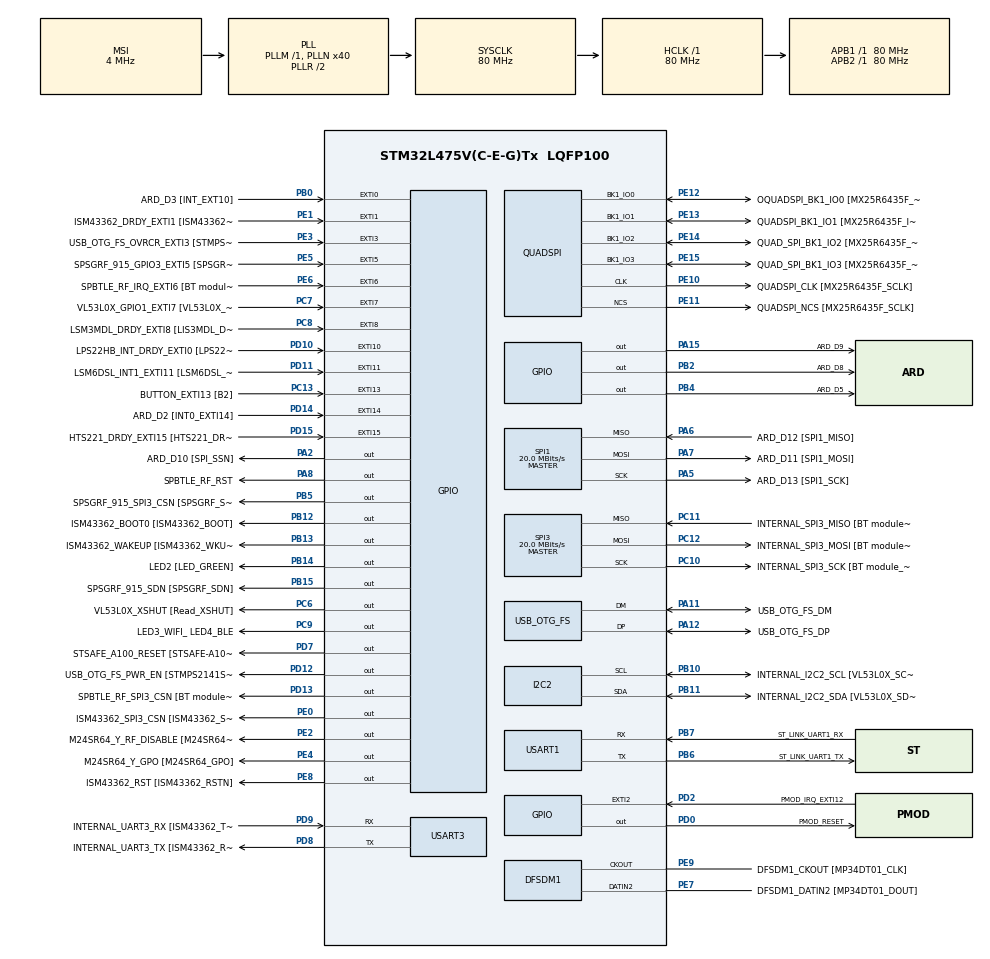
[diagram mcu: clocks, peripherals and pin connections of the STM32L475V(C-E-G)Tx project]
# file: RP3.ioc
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FREERTOS.Tasks01=defaultTask,24,256,StartDefaultTask,Default,NULL,Dynamic,NULL,NULL
FREERTOS.configTOTAL_HEAP_SIZE=32768
FREERTOS.configUSE_NEWLIB_REENTRANT=1
I2C2.Timing=0x10D19CE4
Mcu.Family=STM32L4
Mcu.Name=STM32L475V(C-E-G)Tx
Mcu.Package=LQFP100
NVIC.EXTI15_10_IRQn=true\:5\:0\:false\:false\:true\:true\:true\:true\:true
NVIC.EXTI9_5_IRQn=true\:5\:0\:false\:false\:true\:true\:true\:true\:true
NVIC.PriorityGroup=NVIC_PRIORITYGROUP_4
NVIC.TIM6_DAC_IRQn=true\:15\:0\:false\:false\:true\:false\:false\:true\:true
NVIC.TimeBase=TIM6_DAC_IRQn
NVIC.TimeBaseIP=TIM6
PA0.GPIO_Label=ARD_D1 [UART4_TX]
PA0.Signal=UART4_TX
PA1.GPIO_Label=ARD_D0 [UART4_RX]
PA1.Signal=UART4_RX
PA10.GPIO_Label=USB_OTG_FS_ID
PA10.Signal=USB_OTG_FS_ID
PA11.GPIO_Label=USB_OTG_FS_DM
PA11.Mode=Device_Only
PA11.Signal=USB_OTG_FS_DM
PA12.GPIO_Label=USB_OTG_FS_DP
PA12.Mode=Device_Only
PA12.Signal=USB_OTG_FS_DP
PA13\ (JTMS-SWDIO).GPIO_Label=SYS_JTMS_SWDIO
PA13\ (JTMS-SWDIO).Mode=Serial_Wire
PA13\ (JTMS-SWDIO).Signal=SYS_JTMS-SWDIO
PA14\ (JTCK-SWCLK).GPIO_Label=SYS_JTCK_SWCLK
PA14\ (JTCK-SWCLK).Mode=Serial_Wire
PA14\ (JTCK-SWCLK).Signal=SYS_JTCK-SWCLK
PA15\ (JTDI).GPIO_Label=ARD_D9
PA15\ (JTDI).Signal=GPIO_Output
PA2.GPIO_Label=ARD_D10 [SPI_SSN]
PA2.Signal=GPIO_Output
PA3.GPIO_Label=ARD_D4
PA3.Signal=S_TIM2_CH4
PA4.GPIO_Label=ARD_D7
PA4.Signal=ADCx_IN9
PA5.GPIO_Label=ARD_D13 [SPI1_SCK]
PA5.Mode=Full_Duplex_Master
PA5.Signal=SPI1_SCK
PA6.GPIO_Label=ARD_D12 [SPI1_MISO]
PA6.Mode=Full_Duplex_Master
PA6.Signal=SPI1_MISO
PA7.GPIO_Label=ARD_D11 [SPI1_MOSI]
PA7.Mode=Full_Duplex_Master
PA7.Signal=SPI1_MOSI
PA8.GPIO_Label=SPBTLE_RF_RST
PA8.Signal=GPIO_Output
PA9.GPIO_Label=USB_OTG_FS_VBUS [STMPS2141STR_OUT]
PA9.Signal=USB_OTG_FS_VBUS
PB0.GPIO_Label=ARD_D3 [INT_EXT10]
PB0.Signal=GPXTI0
PB1.GPIO_Label=ARD_D6 [ADC1_IN6]
PB1.Signal=ADCx_IN16
PB10.GPIO_Label=INTERNAL_I2C2_SCL [VL53L0X_SCL]
PB10.GPIO_Pu=GPIO_PULLUP
PB10.Mode=I2C
PB10.Signal=I2C2_SCL
PB11.GPIO_Label=INTERNAL_I2C2_SDA [VL53L0X_SDA]
PB11.GPIO_Pu=GPIO_PULLUP
PB11.Mode=I2C
PB11.Signal=I2C2_SDA
PB12.GPIO_Label=ISM43362_BOOT0 [ISM43362_BOOT]
PB12.Signal=GPIO_Output
PB13.GPIO_Label=ISM43362_WAKEUP [ISM43362_WKUP]
PB13.Signal=GPIO_Output
PB14.GPIO_Label=LED2 [LED_GREEN]
PB14.Signal=GPIO_Output
PB15.GPIO_Label=SPSGRF_915_SDN [SPSGRF_SDN]
PB15.Signal=GPIO_Output
PB2.GPIO_Label=ARD_D8
PB2.Signal=GPIO_Output
PB3\ (JTDO-TRACESWO).GPIO_Label=SYS_JTD0_SWO
PB3\ (JTDO-TRACESWO).Signal=SYS_JTDO-SWO
PB4\ (NJTRST).GPIO_Label=ARD_D5
PB4\ (NJTRST).Signal=GPIO_Output
PB5.GPIO_Label=SPSGRF_915_SPI3_CSN [SPSGRF_SPI_CS]
PB5.PinState=GPIO_PIN_SET
PB5.Signal=GPIO_Output
PB6.GPIO_Label=ST_LINK_UART1_TX
PB6.Mode=Asynchronous
PB6.Signal=USART1_TX
PB7.GPIO_Label=ST_LINK_UART1_RX
PB7.Mode=Asynchronous
PB7.Signal=USART1_RX
PB8.GPIO_Label=ARD_D15 [I2C1_SCL]
PB8.Signal=I2C1_SCL
PB9.GPIO_Label=ARD_D14 [I2C1_SDA]
PB9.Signal=I2C1_SDA
PC0.GPIO_Label=ARD_A5 [ADC]
PC0.Signal=ADCx_IN1
PC1.GPIO_Label=ARD_A4 [ADC]
PC1.Signal=ADCx_IN2
PC10.GPIO_Label=INTERNAL_SPI3_SCK [BT module_SPI_SCLK] [ISM43362_SCK]
PC10.Mode=Full_Duplex_Master
PC10.Signal=SPI3_SCK
PC11.GPIO_Label=INTERNAL_SPI3_MISO [BT module_SPI_MISO] [ISM43362_MISO]
PC11.Mode=Full_Duplex_Master
PC11.Signal=SPI3_MISO
PC12.GPIO_Label=INTERNAL_SPI3_MOSI [BT module_SPI_MOSI] [ISM43362_MOSI]
PC12.Mode=Full_Duplex_Master
PC12.Signal=SPI3_MOSI
PC13.GPIO_Label=BUTTON_EXTI13 [B2]
PC13.GPIO_ModeDefaultEXTI=GPIO_MODE_IT_FALLING
PC13.Signal=GPXTI13
PC14-OSC32_IN\ (PC14).Mode=LSE-External-Oscillator
PC14-OSC32_IN\ (PC14).Signal=RCC_OSC32_IN
PC15-OSC32_OUT\ (PC15).Mode=LSE-External-Oscillator
PC15-OSC32_OUT\ (PC15).Signal=RCC_OSC32_OUT
PC2.GPIO_Label=ARD_A3 [ADC]
PC2.Signal=ADCx_IN3
PC3.GPIO_Label=ARD_A2 [ADC]
PC3.Signal=ADCx_IN4
PC4.GPIO_Label=ARD_A1 [ADC]
PC4.Signal=ADCx_IN13
PC5.GPIO_Label=ARD_A0 [ADC]
PC5.Signal=ADCx_IN14
PC6.GPIO_Label=VL53L0X_XSHUT [Read_XSHUT]
PC6.Signal=GPIO_Output
PC7.GPIO_Label=VL53L0X_GPIO1_EXTI7 [VL53L0X_GPIO1]
PC7.Signal=GPXTI7
PC8.GPIO_Label=LSM3MDL_DRDY_EXTI8 [LIS3MDL_DRDY]
PC8.Signal=GPXTI8
PC9.GPIO_Label=LED3_WIFI_ LED4_BLE
PC9.Signal=GPIO_Output
PD0.GPIO_Label=PMOD_RESET
PD0.Signal=GPIO_Output
PD1.GPIO_Label=PMOD_SPI2_SCK
PD1.Signal=SPI2_SCK
PD10.GPIO_Label=LPS22HB_INT_DRDY_EXTI0 [LPS22HB_INT_DRDY] 
PD10.Signal=GPXTI10
PD11.GPIO_Label=LSM6DSL_INT1_EXTI11 [LSM6DSL_INT1]
PD11.Signal=GPXTI11
PD12.GPIO_Label=USB_OTG_FS_PWR_EN [STMPS2141STR_EN]
PD12.Signal=GPIO_Output
PD13.GPIO_Label=SPBTLE_RF_SPI3_CSN [BT module_SPI_CS]
PD13.PinState=GPIO_PIN_SET
PD13.Signal=GPIO_Output
PD14.GPIO_Label=ARD_D2 [INT0_EXTI14]
PD14.Signal=GPXTI14
PD15.GPIO_Label=HTS221_DRDY_EXTI15 [HTS221_DRDY]
PD15.Signal=GPXTI15
PD2.GPIO_Label=PMOD_IRQ_EXTI12
PD2.Signal=GPXTI2
PD3.GPIO_Label=PMOD_UART2_CTS
PD3.Signal=USART2_CTS
PD4.GPIO_Label=PMOD_UART2_RTS
PD4.Signal=USART2_RTS
PD5.GPIO_Label=PMOD_UART2_TX
PD5.Signal=USART2_TX
PD6.GPIO_Label=PMOD_UART2_RX
PD6.Signal=USART2_RX
PD7.GPIO_Label=STSAFE_A100_RESET [STSAFE-A100_RESET]
PD7.Signal=GPIO_Output
PD8.GPIO_Label=INTERNAL_UART3_TX [ISM43362_RX]
PD8.Mode=Asynchronous
PD8.Signal=USART3_TX
PD9.GPIO_Label=INTERNAL_UART3_RX [ISM43362_TX]
PD9.Mode=Asynchronous
PD9.Signal=USART3_RX
PE0.GPIO_Label=ISM43362_SPI3_CSN [ISM43362_SSN]
PE0.PinState=GPIO_PIN_SET
PE0.Signal=GPIO_Output
PE1.GPIO_Label=ISM43362_DRDY_EXTI1 [ISM43362_DATARDY]
PE1.Signal=GPXTI1
PE10.GPIO_Label=QUADSPI_CLK [MX25R6435F_SCLK]
PE10.Mode=Single Bank
PE10.Signal=QUADSPI_CLK
PE11.GPIO_Label=QUADSPI_NCS [MX25R6435F_SCLK]
PE11.Mode=Single Bank
PE11.Signal=QUADSPI_NCS
PE12.GPIO_Label=OQUADSPI_BK1_IO0 [MX25R6435F_IO0]
PE12.Mode=Single Bank
PE12.Signal=QUADSPI_BK1_IO0
PE13.GPIO_Label=QUADSPI_BK1_IO1 [MX25R6435F_IO1]
PE13.Mode=Single Bank
PE13.Signal=QUADSPI_BK1_IO1
PE14.GPIO_Label=QUAD_SPI_BK1_IO2 [MX25R6435F_IO2]
PE14.Mode=Single Bank
PE14.Signal=QUADSPI_BK1_IO2
PE15.GPIO_Label=QUAD_SPI_BK1_IO3 [MX25R6435F_IO3]
PE15.Mode=Single Bank
PE15.Signal=QUADSPI_BK1_IO3
PE2.GPIO_Label=M24SR64_Y_RF_DISABLE [M24SR64_RFDIS]
PE2.Signal=GPIO_Output
PE3.GPIO_Label=USB_OTG_FS_OVRCR_EXTI3 [STMPS2141STR_FAULT]
PE3.Signal=GPXTI3
PE4.GPIO_Label=M24SR64_Y_GPO [M24SR64_GPO]
PE4.Signal=GPIO_Output
PE5.GPIO_Label=SPSGRF_915_GPIO3_EXTI5 [SPSGRF_GPIO_3]
PE5.Signal=GPXTI5
PE6.GPIO_Label=SPBTLE_RF_IRQ_EXTI6 [BT module_SPI_IRQ]
PE6.Signal=GPXTI6
PE7.GPIO_Label=DFSDM1_DATIN2 [MP34DT01_DOUT]
PE7.Signal=S_DATAIN2DFSDM1
PE8.GPIO_Label=ISM43362_RST [ISM43362_RSTN]
PE8.Signal=GPIO_Output
PE9.GPIO_Label=DFSDM1_CKOUT [MP34DT01_CLK]
PE9.Signal=S_CKOUTDFSDM1
ProjectManager.HeapSize=0x200
ProjectManager.StackSize=0x400
ProjectManager.TargetToolchain=STM32CubeIDE
QUADSPI.ClockPrescaler=2
QUADSPI.FifoThreshold=4
QUADSPI.FlashSize=23
QUADSPI.SampleShifting=QSPI_SAMPLE_SHIFTING_HALFCYCLE
RCC.ADCFreq_Value=48000000
RCC.AHBFreq_Value=80000000
RCC.APB1Freq_Value=80000000
RCC.APB1TimFreq_Value=80000000
RCC.APB2Freq_Value=80000000
RCC.APB2TimFreq_Value=80000000
RCC.CortexFreq_Value=80000000
RCC.HCLKFreq_Value=80000000
RCC.HSE_VALUE=8000000
RCC.HSI_VALUE=16000000
RCC.MSI_VALUE=4000000
RCC.PLLN=40
RCC.PLLSAI1N=24
RCC.SYSCLKFreq_VALUE=80000000
RCC.SYSCLKSource=RCC_SYSCLKSOURCE_PLLCLK
RCC.USBFreq_Value=48000000
RCC.VCOOutputFreq_Value=160000000
SH.ADCx_IN1.0=ADC1_IN1
SH.ADCx_IN13.0=ADC1_IN13
SH.ADCx_IN14.0=ADC1_IN14
SH.ADCx_IN16.0=ADC1_IN16
SH.ADCx_IN2.0=ADC1_IN2
SH.ADCx_IN3.0=ADC1_IN3
SH.ADCx_IN4.0=ADC1_IN4
SH.ADCx_IN9.0=ADC1_IN9
SH.S_CKOUTDFSDM1.0=DFSDM1_CKOUT,CKOUT
SH.S_CKOUTDFSDM1.1=DFSDM1_CKOUT,PDM_SPI_Input_from_ch12_and_Internal_Clock
SH.S_DATAIN2DFSDM1.0=DFSDM1_DATIN2,PDM_SPI_Input_from_ch12_and_Internal_Clock
SH.S_TIM2_CH4.0=TIM2_CH4
SPI1.BaudRatePrescaler=SPI_BAUDRATEPRESCALER_4
SPI1.CalculateBaudRate=20.0 MBits/s
SPI1.DataSize=SPI_DATASIZE_16BIT
SPI1.Direction=SPI_DIRECTION_2LINES
SPI1.Mode=SPI_MODE_MASTER
SPI1.VirtualType=VM_MASTER
SPI3.BaudRatePrescaler=SPI_BAUDRATEPRESCALER_4
SPI3.CalculateBaudRate=20.0 MBits/s
SPI3.DataSize=SPI_DATASIZE_16BIT
SPI3.Direction=SPI_DIRECTION_2LINES
SPI3.Mode=SPI_MODE_MASTER
SPI3.VirtualType=VM_MASTER
USART1.VirtualMode-Asynchronous=VM_ASYNC
USART3.VirtualMode-Asynchronous=VM_ASYNC
USB_OTG_FS.VirtualMode=Device_Only
VP_FREERTOS_VS_CMSIS_V2.Mode=CMSIS_V2
VP_SYS_VS_tim6.Mode=TIM6
board=B-L475E-IOT01A1

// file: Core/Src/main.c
/* USER CODE BEGIN Header */
/**
  ******************************************************************************
  * @file           : main.c
  * @brief          : Main program body
  ******************************************************************************
  * @attention
  *
  * Copyright (c) 2025 STMicroelectronics.
  * All rights reserved.
  *
  * This software is licensed under terms that can be found in the LICENSE file
  * in the root directory of this software component.
  * If no LICENSE file comes with this software, it is provided AS-IS.
  *
  ******************************************************************************
  */
/* USER CODE END Header */
#include "main.h"
#include "cmsis_os.h"

/* USER CODE BEGIN Includes */
#include "string.h"
#include "wifi_wrapper.h"
#include <stdio.h>

/* USER CODE END Includes */

/* USER CODE BEGIN PTD */
typedef struct {
    uint8_t data[256];
    uint16_t length;
} WiFiMessage_t;

/* USER CODE END PTD */

DFSDM_Channel_HandleTypeDef hdfsdm1_channel1;

I2C_HandleTypeDef hi2c2;

QSPI_HandleTypeDef hqspi;

SPI_HandleTypeDef hspi1;
SPI_HandleTypeDef hspi3;

UART_HandleTypeDef huart1;
UART_HandleTypeDef huart3;

PCD_HandleTypeDef hpcd_USB_OTG_FS;

/* Definitions for defaultTask */
osThreadId_t defaultTaskHandle;
const osThreadAttr_t defaultTask_attributes = {
  .name = "defaultTask",
  .stack_size = 256 * 4,
  .priority = (osPriority_t) osPriorityNormal,
};
/* USER CODE BEGIN PV */

osThreadId_t helloTaskHandle;
void HelloWorldTask(void *argument)
{
	osDelay(3000);
    char msg[] = "Hello World!\r\n";

    for(;;)
    {
        HAL_UART_Transmit(&huart1, (uint8_t*)msg, strlen(msg), HAL_MAX_DELAY);
        osDelay(1000); // 1 Sekunde warten
    }
}

extern I2C_HandleTypeDef hi2c2;  // I2C2 Handler

#define HTS221_I2C_ADDR    (0x5F << 1)  // 7bit Adresse + Shift
#define HTS221_WHO_AM_I    0x0F         // WHO_AM_I Register
void Read_HTS221_WhoAmI(void)
{
    uint8_t who_am_i = 0;
    HAL_StatusTypeDef ret;

    ret = HAL_I2C_Mem_Read(&hi2c2, HTS221_I2C_ADDR, HTS221_WHO_AM_I, I2C_MEMADD_SIZE_8BIT, &who_am_i, 1, HAL_MAX_DELAY);

    if(ret == HAL_OK)
    {
        if(who_am_i == 0xBC)
        {
            // Sensor antwortet korrekt
            char msg[] = "HTS221 gefunden!\r\n";
            HAL_UART_Transmit(&huart1, (uint8_t*)msg, strlen(msg), HAL_MAX_DELAY);
        }
        else
        {
            // Falsche Antwort
            char msg[] = "HTS221 falsche Antwort!\r\n";
            HAL_UART_Transmit(&huart1, (uint8_t*)msg, strlen(msg), HAL_MAX_DELAY);
        }
    }
    else
    {
        // Fehler bei der Kommunikation
        char msg[] = "HTS221 nicht erreichbar!\r\n";
        HAL_UART_Transmit(&huart1, (uint8_t*)msg, strlen(msg), HAL_MAX_DELAY);
    }
}

osMutexId_t spiMutexHandle;
osMessageQueueId_t wifiMessageQueueHandle;

osThreadId_t wifiTaskHandle;
void StartWiFiTask(void *argument)
{
    char msg[128] = {0};
    const char *command = "P4=2000\r" ;

    // 1. Initialisierung
    strcpy(msg, "Starte Initialisierung...\r\n");
    HAL_UART_Transmit(&huart1, (uint8_t*)msg, strlen(msg), HAL_MAX_DELAY);

    if (osMutexAcquire(spiMutexHandle, HAL_MAX_DELAY) == osOK)
    {
        wifi_init();
        osMutexRelease(spiMutexHandle);

    }

    // 2. Periodisches Senden alle 5 Sekunden
    for (;;)
    {
        // SPI-Mutex sichern
        osMutexAcquire(spiMutexHandle, HAL_MAX_DELAY);
        wifi_send_command(command, 1000);

        snprintf(msg, sizeof(msg), "sende Command: %s\r\n", command);
        HAL_UART_Transmit(&huart1, (uint8_t*)msg, strlen(msg), HAL_MAX_DELAY);

        osMutexRelease(spiMutexHandle);

        osDelay(5000);
    }
}

osThreadId_t wifiReceiveTaskHandle;

void WiFiReceiveTask(void *argument)
{
    uint8_t response[256];

    for (;;)
    {
        if (HAL_GPIO_ReadPin(GPIOE, GPIO_PIN_1) == 1)
        {
            if (osMutexAcquire(spiMutexHandle, 0) == osOK)
            {
                int received = wifi_read_data(response, sizeof(response), 1000);
                osMutexRelease(spiMutexHandle);

                if (received > 0)
                {
                    WiFiMessage_t message;
                    memcpy(message.data, response, received);
                    message.length = received;

                    osMessageQueuePut(wifiMessageQueueHandle, &message, 0, 0);
                }
            }
        }

        osDelay(10);
    }
}

osThreadId_t wifiOutputTaskHandle;

void WiFiOutputTask(void *argument)
{
	WiFiMessage_t receivedMessage;

    for (;;)
    {
        if (osMessageQueueGet(wifiMessageQueueHandle, &receivedMessage, NULL, osWaitForever) == osOK)
        {
        	HAL_UART_Transmit(&huart1, receivedMessage.data, receivedMessage.length, HAL_MAX_DELAY);
        }
    }
}

const osThreadAttr_t wifiTask_attributes = {
        .name = "Start Wifi with Commands",
        .priority = (osPriority_t) osPriorityBelowNormal,
        .stack_size = 512*8
    };

const osThreadAttr_t wifiReceiveTask_attributes = {
        .name = "ReceiveTask",
        .priority = (osPriority_t) osPriorityHigh,
        .stack_size = 1024*8
    };

const osThreadAttr_t wifiOutputTask_attributes = {
        .name = "PrintTask",
        .priority = (osPriority_t) osPriorityLow,
        .stack_size = 1024*8
    };
const osThreadAttr_t helloTask_attributes = {
    .name = "helloTask",
    .stack_size = 128 * 4,
    .priority = (osPriority_t) osPriorityNormal,
  };

const osMutexAttr_t spiMutex_attributes = {
    .name = "spiMutex"
};

const osMessageQueueAttr_t wifiMessageQueue_attributes = {
      .name = "wifiQueue"
  };

  // 10 Nachrichten, jede max. 256 Bytes

/* USER CODE END PV */

void SystemClock_Config(void);
static void MX_GPIO_Init(void);
static void MX_DFSDM1_Init(void);
static void MX_I2C2_Init(void);
static void MX_QUADSPI_Init(void);
static void MX_SPI3_Init(void);
static void MX_USART1_UART_Init(void);
static void MX_USART3_UART_Init(void);
static void MX_USB_OTG_FS_PCD_Init(void);
static void MX_SPI1_Init(void);
void StartDefaultTask(void *argument);

/* USER CODE BEGIN 0 */
extern SPI_HandleTypeDef hspi3; // SPI3 handle aus CubeMX
extern UART_HandleTypeDef huart3; // UART3 handle für printf-Ausgabe
/* USER CODE END 0 */

int main(void)
{

  /* MCU Configuration--------------------------------------------------------*/

  /* Reset of all peripherals, Initializes the Flash interface and the Systick. */
  HAL_Init();

  /* Configure the system clock */
  SystemClock_Config();

  /* Initialize all configured peripherals */
  MX_GPIO_Init();
  MX_DFSDM1_Init();
  MX_I2C2_Init();
  MX_QUADSPI_Init();
  MX_SPI3_Init();
  MX_USART1_UART_Init();
  MX_USART3_UART_Init();
  MX_USB_OTG_FS_PCD_Init();
  MX_SPI1_Init();

  /* Init scheduler */
  osKernelInitialize();

  /* USER CODE BEGIN RTOS_MUTEX */
  spiMutexHandle = osMutexNew(&spiMutex_attributes);
  if (spiMutexHandle == NULL) {
      printf("Fehler: SPI-Mutex konnte nicht erstellt werden!\r\n");
  }
  /* add mutexes, ... */
  /* USER CODE END RTOS_MUTEX */

  /* USER CODE BEGIN RTOS_QUEUES */
  wifiMessageQueueHandle = osMessageQueueNew(10, sizeof(WiFiMessage_t), NULL);
  /* add queues, ... */
  /* USER CODE END RTOS_QUEUES */

  /* Create the thread(s) */
  /* creation of defaultTask */
  defaultTaskHandle = osThreadNew(StartDefaultTask, NULL, &defaultTask_attributes);

  /* USER CODE BEGIN RTOS_THREADS */
  helloTaskHandle = osThreadNew(HelloWorldTask, NULL, &helloTask_attributes);
  wifiTaskHandle = osThreadNew(StartWiFiTask, NULL, &wifiTask_attributes);
  wifiReceiveTaskHandle = osThreadNew(WiFiReceiveTask, NULL, &wifiReceiveTask_attributes);
  wifiOutputTaskHandle = osThreadNew(WiFiOutputTask, NULL, &wifiOutputTask_attributes);
  /* add threads, ... */
  /* USER CODE END RTOS_THREADS */

  /* Start scheduler */
  osKernelStart();

  /* We should never get here as control is now taken by the scheduler */

  /* Infinite loop */
  while (1)
  {

    /* USER CODE BEGIN 3 */
  }
  /* Fehlerbehandlung */

  /* USER CODE END 3 */
}

void SystemClock_Config(void)
{
  RCC_OscInitTypeDef RCC_OscInitStruct = {0};
  RCC_ClkInitTypeDef RCC_ClkInitStruct = {0};

  /** Configure the main internal regulator output voltage
  */
  if (HAL_PWREx_ControlVoltageScaling(PWR_REGULATOR_VOLTAGE_SCALE1) != HAL_OK)
  {
    Error_Handler();
  }

  /** Configure LSE Drive Capability
  */
  HAL_PWR_EnableBkUpAccess();
  __HAL_RCC_LSEDRIVE_CONFIG(RCC_LSEDRIVE_LOW);

  /** Initializes the RCC Oscillators according to the specified parameters
  * in the RCC_OscInitTypeDef structure.
  */
  RCC_OscInitStruct.OscillatorType = RCC_OSCILLATORTYPE_LSE|RCC_OSCILLATORTYPE_MSI;
  RCC_OscInitStruct.LSEState = RCC_LSE_ON;
  RCC_OscInitStruct.MSIState = RCC_MSI_ON;
  RCC_OscInitStruct.MSICalibrationValue = 0;
  RCC_OscInitStruct.MSIClockRange = RCC_MSIRANGE_6;
  RCC_OscInitStruct.PLL.PLLState = RCC_PLL_ON;
  RCC_OscInitStruct.PLL.PLLSource = RCC_PLLSOURCE_MSI;
  RCC_OscInitStruct.PLL.PLLM = 1;
  RCC_OscInitStruct.PLL.PLLN = 40;
  RCC_OscInitStruct.PLL.PLLP = RCC_PLLP_DIV7;
  RCC_OscInitStruct.PLL.PLLQ = RCC_PLLQ_DIV2;
  RCC_OscInitStruct.PLL.PLLR = RCC_PLLR_DIV2;
  if (HAL_RCC_OscConfig(&RCC_OscInitStruct) != HAL_OK)
  {
    Error_Handler();
  }

  /** Initializes the CPU, AHB and APB buses clocks
  */
  RCC_ClkInitStruct.ClockType = RCC_CLOCKTYPE_HCLK|RCC_CLOCKTYPE_SYSCLK
                              |RCC_CLOCKTYPE_PCLK1|RCC_CLOCKTYPE_PCLK2;
  RCC_ClkInitStruct.SYSCLKSource = RCC_SYSCLKSOURCE_PLLCLK;
  RCC_ClkInitStruct.AHBCLKDivider = RCC_SYSCLK_DIV1;
  RCC_ClkInitStruct.APB1CLKDivider = RCC_HCLK_DIV1;
  RCC_ClkInitStruct.APB2CLKDivider = RCC_HCLK_DIV1;

  if (HAL_RCC_ClockConfig(&RCC_ClkInitStruct, FLASH_LATENCY_4) != HAL_OK)
  {
    Error_Handler();
  }

  /** Enable MSI Auto calibration
  */
  HAL_RCCEx_EnableMSIPLLMode();
}

static void MX_DFSDM1_Init(void)
{

  hdfsdm1_channel1.Instance = DFSDM1_Channel1;
  hdfsdm1_channel1.Init.OutputClock.Activation = ENABLE;
  hdfsdm1_channel1.Init.OutputClock.Selection = DFSDM_CHANNEL_OUTPUT_CLOCK_SYSTEM;
  hdfsdm1_channel1.Init.OutputClock.Divider = 2;
  hdfsdm1_channel1.Init.Input.Multiplexer = DFSDM_CHANNEL_EXTERNAL_INPUTS;
  hdfsdm1_channel1.Init.Input.DataPacking = DFSDM_CHANNEL_STANDARD_MODE;
  hdfsdm1_channel1.Init.Input.Pins = DFSDM_CHANNEL_FOLLOWING_CHANNEL_PINS;
  hdfsdm1_channel1.Init.SerialInterface.Type = DFSDM_CHANNEL_SPI_RISING;
  hdfsdm1_channel1.Init.SerialInterface.SpiClock = DFSDM_CHANNEL_SPI_CLOCK_INTERNAL;
  hdfsdm1_channel1.Init.Awd.FilterOrder = DFSDM_CHANNEL_FASTSINC_ORDER;
  hdfsdm1_channel1.Init.Awd.Oversampling = 1;
  hdfsdm1_channel1.Init.Offset = 0;
  hdfsdm1_channel1.Init.RightBitShift = 0x00;
  if (HAL_DFSDM_ChannelInit(&hdfsdm1_channel1) != HAL_OK)
  {
    Error_Handler();
  }

}

static void MX_I2C2_Init(void)
{

  hi2c2.Instance = I2C2;
  hi2c2.Init.Timing = 0x10D19CE4;
  hi2c2.Init.OwnAddress1 = 0;
  hi2c2.Init.AddressingMode = I2C_ADDRESSINGMODE_7BIT;
  hi2c2.Init.DualAddressMode = I2C_DUALADDRESS_DISABLE;
  hi2c2.Init.OwnAddress2 = 0;
  hi2c2.Init.OwnAddress2Masks = I2C_OA2_NOMASK;
  hi2c2.Init.GeneralCallMode = I2C_GENERALCALL_DISABLE;
  hi2c2.Init.NoStretchMode = I2C_NOSTRETCH_DISABLE;
  if (HAL_I2C_Init(&hi2c2) != HAL_OK)
  {
    Error_Handler();
  }

  /** Configure Analogue filter
  */
  if (HAL_I2CEx_ConfigAnalogFilter(&hi2c2, I2C_ANALOGFILTER_ENABLE) != HAL_OK)
  {
    Error_Handler();
  }

  /** Configure Digital filter
  */
  if (HAL_I2CEx_ConfigDigitalFilter(&hi2c2, 0) != HAL_OK)
  {
    Error_Handler();
  }

}

static void MX_QUADSPI_Init(void)
{

  /* QUADSPI parameter configuration*/
  hqspi.Instance = QUADSPI;
  hqspi.Init.ClockPrescaler = 2;
  hqspi.Init.FifoThreshold = 4;
  hqspi.Init.SampleShifting = QSPI_SAMPLE_SHIFTING_HALFCYCLE;
  hqspi.Init.FlashSize = 23;
  hqspi.Init.ChipSelectHighTime = QSPI_CS_HIGH_TIME_1_CYCLE;
  hqspi.Init.ClockMode = QSPI_CLOCK_MODE_0;
  if (HAL_QSPI_Init(&hqspi) != HAL_OK)
  {
    Error_Handler();
  }

}

static void MX_SPI1_Init(void)
{

  /* SPI1 parameter configuration*/
  hspi1.Instance = SPI1;
  hspi1.Init.Mode = SPI_MODE_MASTER;
  hspi1.Init.Direction = SPI_DIRECTION_2LINES;
  hspi1.Init.DataSize = SPI_DATASIZE_16BIT;
  hspi1.Init.CLKPolarity = SPI_POLARITY_LOW;
  hspi1.Init.CLKPhase = SPI_PHASE_1EDGE;
  hspi1.Init.NSS = SPI_NSS_SOFT;
  hspi1.Init.BaudRatePrescaler = SPI_BAUDRATEPRESCALER_4;
  hspi1.Init.FirstBit = SPI_FIRSTBIT_MSB;
  hspi1.Init.TIMode = SPI_TIMODE_DISABLE;
  hspi1.Init.CRCCalculation = SPI_CRCCALCULATION_DISABLE;
  hspi1.Init.CRCPolynomial = 7;
  hspi1.Init.CRCLength = SPI_CRC_LENGTH_DATASIZE;
  hspi1.Init.NSSPMode = SPI_NSS_PULSE_ENABLE;
  if (HAL_SPI_Init(&hspi1) != HAL_OK)
  {
    Error_Handler();
  }

}

static void MX_SPI3_Init(void)
{

  /* SPI3 parameter configuration*/
  hspi3.Instance = SPI3;
  hspi3.Init.Mode = SPI_MODE_MASTER;
  hspi3.Init.Direction = SPI_DIRECTION_2LINES;
  hspi3.Init.DataSize = SPI_DATASIZE_16BIT;
  hspi3.Init.CLKPolarity = SPI_POLARITY_LOW;
  hspi3.Init.CLKPhase = SPI_PHASE_1EDGE;
  hspi3.Init.NSS = SPI_NSS_SOFT;
  hspi3.Init.BaudRatePrescaler = SPI_BAUDRATEPRESCALER_4;
  hspi3.Init.FirstBit = SPI_FIRSTBIT_MSB;
  hspi3.Init.TIMode = SPI_TIMODE_DISABLE;
  hspi3.Init.CRCCalculation = SPI_CRCCALCULATION_DISABLE;
  hspi3.Init.CRCPolynomial = 7;
  hspi3.Init.CRCLength = SPI_CRC_LENGTH_DATASIZE;
  hspi3.Init.NSSPMode = SPI_NSS_PULSE_ENABLE;
  if (HAL_SPI_Init(&hspi3) != HAL_OK)
  {
    Error_Handler();
  }

}

static void MX_USART1_UART_Init(void)
{

  huart1.Instance = USART1;
  huart1.Init.BaudRate = 115200;
  huart1.Init.WordLength = UART_WORDLENGTH_8B;
  huart1.Init.StopBits = UART_STOPBITS_1;
  huart1.Init.Parity = UART_PARITY_NONE;
  huart1.Init.Mode = UART_MODE_TX_RX;
  huart1.Init.HwFlowCtl = UART_HWCONTROL_NONE;
  huart1.Init.OverSampling = UART_OVERSAMPLING_16;
  huart1.Init.OneBitSampling = UART_ONE_BIT_SAMPLE_DISABLE;
  huart1.AdvancedInit.AdvFeatureInit = UART_ADVFEATURE_NO_INIT;
  if (HAL_UART_Init(&huart1) != HAL_OK)
  {
    Error_Handler();
  }

}

static void MX_USART3_UART_Init(void)
{

  huart3.Instance = USART3;
  huart3.Init.BaudRate = 115200;
  huart3.Init.WordLength = UART_WORDLENGTH_8B;
  huart3.Init.StopBits = UART_STOPBITS_1;
  huart3.Init.Parity = UART_PARITY_NONE;
  huart3.Init.Mode = UART_MODE_TX_RX;
  huart3.Init.HwFlowCtl = UART_HWCONTROL_NONE;
  huart3.Init.OverSampling = UART_OVERSAMPLING_16;
  huart3.Init.OneBitSampling = UART_ONE_BIT_SAMPLE_DISABLE;
  huart3.AdvancedInit.AdvFeatureInit = UART_ADVFEATURE_NO_INIT;
  if (HAL_UART_Init(&huart3) != HAL_OK)
  {
    Error_Handler();
  }

}

static void MX_USB_OTG_FS_PCD_Init(void)
{

  hpcd_USB_OTG_FS.Instance = USB_OTG_FS;
  hpcd_USB_OTG_FS.Init.dev_endpoints = 6;
  hpcd_USB_OTG_FS.Init.speed = PCD_SPEED_FULL;
  hpcd_USB_OTG_FS.Init.phy_itface = PCD_PHY_EMBEDDED;
  hpcd_USB_OTG_FS.Init.Sof_enable = DISABLE;
  hpcd_USB_OTG_FS.Init.low_power_enable = DISABLE;
  hpcd_USB_OTG_FS.Init.lpm_enable = DISABLE;
  hpcd_USB_OTG_FS.Init.battery_charging_enable = DISABLE;
  hpcd_USB_OTG_FS.Init.use_dedicated_ep1 = DISABLE;
  hpcd_USB_OTG_FS.Init.vbus_sensing_enable = DISABLE;
  if (HAL_PCD_Init(&hpcd_USB_OTG_FS) != HAL_OK)
  {
    Error_Handler();
  }

}

static void MX_GPIO_Init(void)
{
  GPIO_InitTypeDef GPIO_InitStruct = {0};

  /* GPIO Ports Clock Enable */
  __HAL_RCC_GPIOE_CLK_ENABLE();
  __HAL_RCC_GPIOC_CLK_ENABLE();
  __HAL_RCC_GPIOA_CLK_ENABLE();
  __HAL_RCC_GPIOB_CLK_ENABLE();
  __HAL_RCC_GPIOD_CLK_ENABLE();

  /*Configure GPIO pin Output Level */
  HAL_GPIO_WritePin(GPIOE, M24SR64_Y_RF_DISABLE_Pin|M24SR64_Y_GPO_Pin|ISM43362_RST_Pin, GPIO_PIN_RESET);

  /*Configure GPIO pin Output Level */
  HAL_GPIO_WritePin(GPIOA, ARD_D10_Pin|SPBTLE_RF_RST_Pin|ARD_D9_Pin, GPIO_PIN_RESET);

  /*Configure GPIO pin Output Level */
  HAL_GPIO_WritePin(GPIOB, ARD_D8_Pin|ISM43362_BOOT0_Pin|ISM43362_WAKEUP_Pin|LED2_Pin
                          |SPSGRF_915_SDN_Pin|ARD_D5_Pin, GPIO_PIN_RESET);

  /*Configure GPIO pin Output Level */
  HAL_GPIO_WritePin(GPIOD, USB_OTG_FS_PWR_EN_Pin|PMOD_RESET_Pin|STSAFE_A100_RESET_Pin, GPIO_PIN_RESET);

  /*Configure GPIO pin Output Level */
  HAL_GPIO_WritePin(SPBTLE_RF_SPI3_CSN_GPIO_Port, SPBTLE_RF_SPI3_CSN_Pin, GPIO_PIN_SET);

  /*Configure GPIO pin Output Level */
  HAL_GPIO_WritePin(GPIOC, VL53L0X_XSHUT_Pin|LED3_WIFI__LED4_BLE_Pin, GPIO_PIN_RESET);

  /*Configure GPIO pin Output Level */
  HAL_GPIO_WritePin(SPSGRF_915_SPI3_CSN_GPIO_Port, SPSGRF_915_SPI3_CSN_Pin, GPIO_PIN_SET);

  /*Configure GPIO pin Output Level */
  HAL_GPIO_WritePin(ISM43362_SPI3_CSN_GPIO_Port, ISM43362_SPI3_CSN_Pin, GPIO_PIN_SET);

  /*Configure GPIO pins : M24SR64_Y_RF_DISABLE_Pin M24SR64_Y_GPO_Pin ISM43362_RST_Pin ISM43362_SPI3_CSN_Pin */
  GPIO_InitStruct.Pin = M24SR64_Y_RF_DISABLE_Pin|M24SR64_Y_GPO_Pin|ISM43362_RST_Pin|ISM43362_SPI3_CSN_Pin;
  GPIO_InitStruct.Mode = GPIO_MODE_OUTPUT_PP;
  GPIO_InitStruct.Pull = GPIO_NOPULL;
  GPIO_InitStruct.Speed = GPIO_SPEED_FREQ_LOW;
  HAL_GPIO_Init(GPIOE, &GPIO_InitStruct);

  /*Configure GPIO pins : USB_OTG_FS_OVRCR_EXTI3_Pin SPSGRF_915_GPIO3_EXTI5_Pin SPBTLE_RF_IRQ_EXTI6_Pin ISM43362_DRDY_EXTI1_Pin */
  GPIO_InitStruct.Pin = USB_OTG_FS_OVRCR_EXTI3_Pin|SPSGRF_915_GPIO3_EXTI5_Pin|SPBTLE_RF_IRQ_EXTI6_Pin|ISM43362_DRDY_EXTI1_Pin;
  GPIO_InitStruct.Mode = GPIO_MODE_IT_RISING;
  GPIO_InitStruct.Pull = GPIO_NOPULL;
  HAL_GPIO_Init(GPIOE, &GPIO_InitStruct);

  /*Configure GPIO pin : BUTTON_EXTI13_Pin */
  GPIO_InitStruct.Pin = BUTTON_EXTI13_Pin;
  GPIO_InitStruct.Mode = GPIO_MODE_IT_FALLING;
  GPIO_InitStruct.Pull = GPIO_NOPULL;
  HAL_GPIO_Init(BUTTON_EXTI13_GPIO_Port, &GPIO_InitStruct);

  /*Configure GPIO pins : ARD_A5_Pin ARD_A4_Pin ARD_A3_Pin ARD_A2_Pin
                           ARD_A1_Pin ARD_A0_Pin */
  GPIO_InitStruct.Pin = ARD_A5_Pin|ARD_A4_Pin|ARD_A3_Pin|ARD_A2_Pin
                          |ARD_A1_Pin|ARD_A0_Pin;
  GPIO_InitStruct.Mode = GPIO_MODE_ANALOG_ADC_CONTROL;
  GPIO_InitStruct.Pull = GPIO_NOPULL;
  HAL_GPIO_Init(GPIOC, &GPIO_InitStruct);

  /*Configure GPIO pins : ARD_D1_Pin ARD_D0_Pin */
  GPIO_InitStruct.Pin = ARD_D1_Pin|ARD_D0_Pin;
  GPIO_InitStruct.Mode = GPIO_MODE_AF_PP;
  GPIO_InitStruct.Pull = GPIO_NOPULL;
  GPIO_InitStruct.Speed = GPIO_SPEED_FREQ_VERY_HIGH;
  GPIO_InitStruct.Alternate = GPIO_AF8_UART4;
  HAL_GPIO_Init(GPIOA, &GPIO_InitStruct);

  /*Configure GPIO pins : ARD_D10_Pin SPBTLE_RF_RST_Pin ARD_D9_Pin */
  GPIO_InitStruct.Pin = ARD_D10_Pin|SPBTLE_RF_RST_Pin|ARD_D9_Pin;
  GPIO_InitStruct.Mode = GPIO_MODE_OUTPUT_PP;
  GPIO_InitStruct.Pull = GPIO_NOPULL;
  GPIO_InitStruct.Speed = GPIO_SPEED_FREQ_LOW;
  HAL_GPIO_Init(GPIOA, &GPIO_InitStruct);

  /*Configure GPIO pin : ARD_D4_Pin */
  GPIO_InitStruct.Pin = ARD_D4_Pin;
  GPIO_InitStruct.Mode = GPIO_MODE_AF_PP;
  GPIO_InitStruct.Pull = GPIO_NOPULL;
  GPIO_InitStruct.Speed = GPIO_SPEED_FREQ_LOW;
  GPIO_InitStruct.Alternate = GPIO_AF1_TIM2;
  HAL_GPIO_Init(ARD_D4_GPIO_Port, &GPIO_InitStruct);

  /*Configure GPIO pin : ARD_D7_Pin */
  GPIO_InitStruct.Pin = ARD_D7_Pin;
  GPIO_InitStruct.Mode = GPIO_MODE_ANALOG_ADC_CONTROL;
  GPIO_InitStruct.Pull = GPIO_NOPULL;
  HAL_GPIO_Init(ARD_D7_GPIO_Port, &GPIO_InitStruct);

  /*Configure GPIO pin : ARD_D3_Pin */
  GPIO_InitStruct.Pin = ARD_D3_Pin;
  GPIO_InitStruct.Mode = GPIO_MODE_IT_RISING;
  GPIO_InitStruct.Pull = GPIO_NOPULL;
  HAL_GPIO_Init(ARD_D3_GPIO_Port, &GPIO_InitStruct);

  /*Configure GPIO pin : ARD_D6_Pin */
  GPIO_InitStruct.Pin = ARD_D6_Pin;
  GPIO_InitStruct.Mode = GPIO_MODE_ANALOG_ADC_CONTROL;
  GPIO_InitStruct.Pull = GPIO_NOPULL;
  HAL_GPIO_Init(ARD_D6_GPIO_Port, &GPIO_InitStruct);

  /*Configure GPIO pins : ARD_D8_Pin ISM43362_BOOT0_Pin ISM43362_WAKEUP_Pin LED2_Pin
                           SPSGRF_915_SDN_Pin ARD_D5_Pin SPSGRF_915_SPI3_CSN_Pin */
  GPIO_InitStruct.Pin = ARD_D8_Pin|ISM43362_BOOT0_Pin|ISM43362_WAKEUP_Pin|LED2_Pin
                          |SPSGRF_915_SDN_Pin|ARD_D5_Pin|SPSGRF_915_SPI3_CSN_Pin;
  GPIO_InitStruct.Mode = GPIO_MODE_OUTPUT_PP;
  GPIO_InitStruct.Pull = GPIO_NOPULL;
  GPIO_InitStruct.Speed = GPIO_SPEED_FREQ_LOW;
  HAL_GPIO_Init(GPIOB, &GPIO_InitStruct);

  /*Configure GPIO pins : LPS22HB_INT_DRDY_EXTI0_Pin LSM6DSL_INT1_EXTI11_Pin ARD_D2_Pin HTS221_DRDY_EXTI15_Pin
                           PMOD_IRQ_EXTI12_Pin */
  GPIO_InitStruct.Pin = LPS22HB_INT_DRDY_EXTI0_Pin|LSM6DSL_INT1_EXTI11_Pin|ARD_D2_Pin|HTS221_DRDY_EXTI15_Pin
                          |PMOD_IRQ_EXTI12_Pin;
  GPIO_InitStruct.Mode = GPIO_MODE_IT_RISING;
  GPIO_InitStruct.Pull = GPIO_NOPULL;
  HAL_GPIO_Init(GPIOD, &GPIO_InitStruct);

  /*Configure GPIO pins : USB_OTG_FS_PWR_EN_Pin SPBTLE_RF_SPI3_CSN_Pin PMOD_RESET_Pin STSAFE_A100_RESET_Pin */
  GPIO_InitStruct.Pin = USB_OTG_FS_PWR_EN_Pin|SPBTLE_RF_SPI3_CSN_Pin|PMOD_RESET_Pin|STSAFE_A100_RESET_Pin;
  GPIO_InitStruct.Mode = GPIO_MODE_OUTPUT_PP;
  GPIO_InitStruct.Pull = GPIO_NOPULL;
  GPIO_InitStruct.Speed = GPIO_SPEED_FREQ_LOW;
  HAL_GPIO_Init(GPIOD, &GPIO_InitStruct);

  /*Configure GPIO pins : VL53L0X_XSHUT_Pin LED3_WIFI__LED4_BLE_Pin */
  GPIO_InitStruct.Pin = VL53L0X_XSHUT_Pin|LED3_WIFI__LED4_BLE_Pin;
  GPIO_InitStruct.Mode = GPIO_MODE_OUTPUT_PP;
  GPIO_InitStruct.Pull = GPIO_NOPULL;
  GPIO_InitStruct.Speed = GPIO_SPEED_FREQ_LOW;
  HAL_GPIO_Init(GPIOC, &GPIO_InitStruct);

  /*Configure GPIO pins : VL53L0X_GPIO1_EXTI7_Pin LSM3MDL_DRDY_EXTI8_Pin */
  GPIO_InitStruct.Pin = VL53L0X_GPIO1_EXTI7_Pin|LSM3MDL_DRDY_EXTI8_Pin;
  GPIO_InitStruct.Mode = GPIO_MODE_IT_RISING;
  GPIO_InitStruct.Pull = GPIO_NOPULL;
  HAL_GPIO_Init(GPIOC, &GPIO_InitStruct);

  /*Configure GPIO pin : PMOD_SPI2_SCK_Pin */
  GPIO_InitStruct.Pin = PMOD_SPI2_SCK_Pin;
  GPIO_InitStruct.Mode = GPIO_MODE_AF_PP;
  GPIO_InitStruct.Pull = GPIO_NOPULL;
  GPIO_InitStruct.Speed = GPIO_SPEED_FREQ_VERY_HIGH;
  GPIO_InitStruct.Alternate = GPIO_AF5_SPI2;
  HAL_GPIO_Init(PMOD_SPI2_SCK_GPIO_Port, &GPIO_InitStruct);

  /*Configure GPIO pins : PMOD_UART2_CTS_Pin PMOD_UART2_RTS_Pin PMOD_UART2_TX_Pin PMOD_UART2_RX_Pin */
  GPIO_InitStruct.Pin = PMOD_UART2_CTS_Pin|PMOD_UART2_RTS_Pin|PMOD_UART2_TX_Pin|PMOD_UART2_RX_Pin;
  GPIO_InitStruct.Mode = GPIO_MODE_AF_PP;
  GPIO_InitStruct.Pull = GPIO_NOPULL;
  GPIO_InitStruct.Speed = GPIO_SPEED_FREQ_VERY_HIGH;
  GPIO_InitStruct.Alternate = GPIO_AF7_USART2;
  HAL_GPIO_Init(GPIOD, &GPIO_InitStruct);

  /*Configure GPIO pins : ARD_D15_Pin ARD_D14_Pin */
  GPIO_InitStruct.Pin = ARD_D15_Pin|ARD_D14_Pin;
  GPIO_InitStruct.Mode = GPIO_MODE_AF_OD;
  GPIO_InitStruct.Pull = GPIO_NOPULL;
  GPIO_InitStruct.Speed = GPIO_SPEED_FREQ_VERY_HIGH;
  GPIO_InitStruct.Alternate = GPIO_AF4_I2C1;
  HAL_GPIO_Init(GPIOB, &GPIO_InitStruct);

  /* EXTI interrupt init*/
  HAL_NVIC_SetPriority(EXTI9_5_IRQn, 5, 0);
  HAL_NVIC_EnableIRQ(EXTI9_5_IRQn);

  HAL_NVIC_SetPriority(EXTI15_10_IRQn, 5, 0);
  HAL_NVIC_EnableIRQ(EXTI15_10_IRQn);

}

void StartDefaultTask(void *argument)
{
  for(;;)
  {
    osDelay(1);
  }
}

void HAL_TIM_PeriodElapsedCallback(TIM_HandleTypeDef *htim)
{
  if (htim->Instance == TIM6)
  {
    HAL_IncTick();
  }
}

void Error_Handler(void)
{
  __disable_irq();
  while (1)
  {
  }
}
